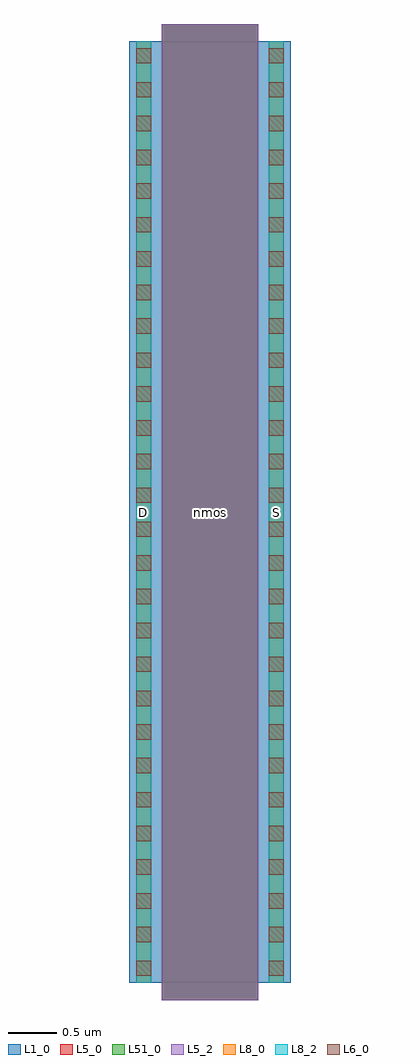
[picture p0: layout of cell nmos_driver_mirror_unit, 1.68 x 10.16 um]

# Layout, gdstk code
import gdstk
lib = gdstk.Library(unit=1e-6, precision=1e-09)
def R(c, l, rs):  # rectangles x0, y0, x1, y1
    for r in rs: c.add(gdstk.rectangle(r[:2], r[2:], *l))
def A(c, l, x, y, w, h, nx, ny, dx, dy):  # array of equal rectangles
    R(c, l, [(x+i*dx, y+j*dy, x+i*dx+w, y+j*dy+h) for i in range(nx) for j in range(ny)])
L1_0 = (1, 0)
L5_0 = (5, 0)
L5_2 = (5, 2)
L6_0 = (6, 0)
L8_0 = (8, 0)
L8_2 = (8, 2)
L51_0 = (51, 0)

nmos_driver_mirror_unit = lib.new_cell('nmos_driver_mirror_unit')
R(nmos_driver_mirror_unit, L1_0, [(0,0,0.3,0.3), (0,0,1.68,9.8), (1.38,0,1.68,0.3)])
R(nmos_driver_mirror_unit, L5_0, [(0.34,-0.18,1.34,9.98)])
R(nmos_driver_mirror_unit, L5_2, [(0.34,-0.18,1.34,9.98)])
A(nmos_driver_mirror_unit, L6_0, 0.07, 0.07, 0.16, 0.16, 1, 3, 0, 0.35)
A(nmos_driver_mirror_unit, L6_0, 1.45, 0.07, 0.16, 0.16, 1, 3, 0, 0.35)
A(nmos_driver_mirror_unit, L6_0, 0.07, 1.125, 0.16, 0.16, 1, 3, 0, 0.35)
A(nmos_driver_mirror_unit, L6_0, 1.45, 1.125, 0.16, 0.16, 1, 3, 0, 0.35)
A(nmos_driver_mirror_unit, L6_0, 0.07, 2.18, 0.16, 0.16, 1, 3, 0, 0.35)
A(nmos_driver_mirror_unit, L6_0, 1.45, 2.18, 0.16, 0.16, 1, 3, 0, 0.35)
A(nmos_driver_mirror_unit, L6_0, 0.07, 3.94, 0.16, 0.16, 1, 3, 0, 0.35)
A(nmos_driver_mirror_unit, L6_0, 1.45, 3.94, 0.16, 0.16, 1, 3, 0, 0.35)
A(nmos_driver_mirror_unit, L6_0, 0.07, 4.995, 0.16, 0.16, 1, 3, 0, 0.35)
A(nmos_driver_mirror_unit, L6_0, 1.45, 4.995, 0.16, 0.16, 1, 3, 0, 0.35)
A(nmos_driver_mirror_unit, L6_0, 0.07, 6.755, 0.16, 0.16, 1, 3, 0, 0.35)
A(nmos_driver_mirror_unit, L6_0, 1.45, 6.755, 0.16, 0.16, 1, 3, 0, 0.35)
A(nmos_driver_mirror_unit, L6_0, 0.07, 7.81, 0.16, 0.16, 1, 3, 0, 0.35)
A(nmos_driver_mirror_unit, L6_0, 1.45, 7.81, 0.16, 0.16, 1, 3, 0, 0.35)
R(nmos_driver_mirror_unit, L6_0, [(0.07,3.235,0.23,3.395), (1.45,3.235,1.61,3.395), (0.07,3.585,0.23,3.745), (1.45,3.585,1.61,3.745), (0.07,6.05,0.23,6.21), (1.45,6.05,1.61,6.21), (0.07,6.4,0.23,6.56), (1.45,6.4,1.61,6.56), (0.07,8.865,0.23,9.025), (1.45,8.865,1.61,9.025), (0.07,9.215,0.23,9.375), (1.45,9.215,1.61,9.375), (0.07,9.57,0.23,9.73), (1.45,9.57,1.61,9.73)])
R(nmos_driver_mirror_unit, L8_0, [(0.07,0,0.23,9.8), (1.45,0,1.61,9.8)])
R(nmos_driver_mirror_unit, L8_2, [(0.07,0,0.23,9.8), (1.45,0,1.61,9.8)])
R(nmos_driver_mirror_unit, L51_0, [(0.34,-0.18,1.34,9.98)])
nmos_driver_mirror_unit.add(gdstk.Label('nmos', (0.84,4.9), layer=63, texttype=0))
nmos_driver_mirror_unit.add(gdstk.Label('nmos', (0.84,4.9), layer=51, texttype=0))
nmos_driver_mirror_unit.add(gdstk.Label('D', (0.15,4.9), layer=8, texttype=25))
nmos_driver_mirror_unit.add(gdstk.Label('S', (1.53,4.9), layer=8, texttype=25))

lib.write_gds('nmos_driver_mirror_unit.gds')
